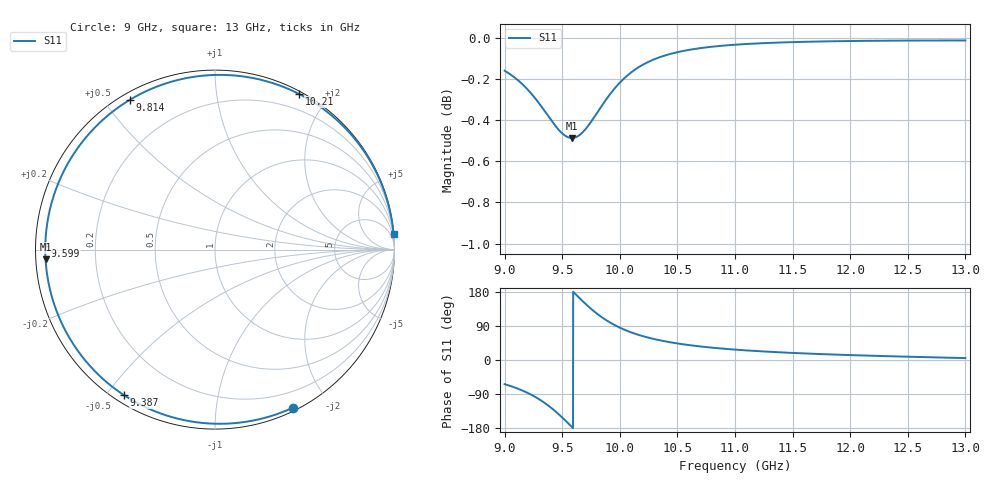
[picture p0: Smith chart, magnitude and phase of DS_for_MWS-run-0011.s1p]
! TOUCHSTONE file generated by CST DESIGN STUDIO
! Date and time: Wed Feb  5 13:18:26 2025
! Project name: C:\Work\MatlabApps\UnitCellOptimizationMatlab\CST\unitcell.cst
! Tree item: Tasks\Sweep1\SPara1\S-Parameters
! Header version: 2024
! Port assignment regex: !\s*Touchstone port\s*([0-9]+)\s*=\s*(CST MWS port|CST DES external port|CST DES block port)\s*(.+)\s* \(\"(.*)\"\)(\s*mode\s*([0-9]+))?.*
! Touchstone port assignment:
! Touchstone port 1 = CST DES external port 1 ("")
# GHz S MA R 50
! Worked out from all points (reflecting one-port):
!   4001 points, 9 GHz to 13 GHz, reference 50 ohm
!   lowest |S11| = -0.5 dB at 9.584 GHz (marker M1), VSWR 35.72, Z = 1.4 - j1.45 ohm
!   phase of S11 starts at -64 deg and turns -291 deg over the sweep
!   S11 on the Smith chart (normalised r, x): 9 GHz: 0.03, -1.61; 9.387 GHz: 0.03, -0.55; 9.599 GHz: 0.03, +0.01; 9.814 GHz: 0.03, +0.58; 10.21 GHz: 0.03, +1.68; 13 GHz: 0, +23
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9  0.9818 -63.8
9.048  0.9799 -68.3
9.117  0.9765 -75.9
9.236  0.969 -92.4
9.316  0.9626 -106.7
9.387  0.9565 -122.1
9.443  0.9518 -136.0
9.5  0.948 -151.7
9.543  0.9461 -164.3
9.584  0.9455 -176.7
9.599  0.9456 178.7
9.654  0.9472 162.1
9.715  0.9512 144.6
9.764  0.9554 131.5
9.814  0.96 119.5
9.855  0.9638 110.5
9.899  0.9676 101.9
10  0.9753 85.4
10.103  0.9811 72.4
10.215  0.9856 61.6
10.346  0.9892 52.1
10.5  0.992 43.7
10.72  0.9945 35.0
11  0.9962 27.4
11.5  0.9976 18.7
12  0.9983 13.0
12.5  0.9985 8.6
13  0.9986 5.0
